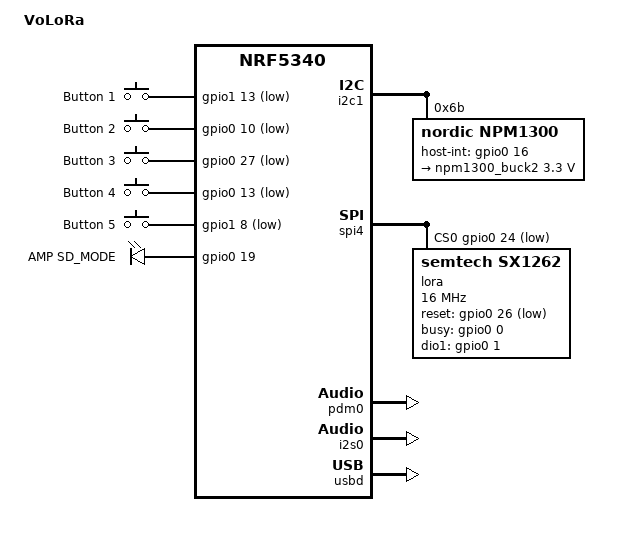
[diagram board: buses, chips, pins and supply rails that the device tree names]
/dts-v1/;
#include <nordic/nrf5340_cpuapp_qkaa.dtsi>
#include "volora_nrf5340_cpuapp-pinctrl.dtsi"
#include <zephyr/dt-bindings/lora/sx126x.h>

/ {
	model = "VoLoRa";
	compatible = "custom,volora";

	chosen {
		zephyr,sram = &sram0_image;
		zephyr,flash = &flash0;
		zephyr,code-partition = &slot0_partition;
		zephyr,console = &cdc_acm_uart0;
	};

	buttons {
		compatible = "gpio-keys";

		button0: button_0 {
			gpios = <&gpio1 13 (GPIO_PULL_UP | GPIO_ACTIVE_LOW)>;
			label = "Button 1";
		};
		button1: button_1 {
			gpios = <&gpio0 10 (GPIO_PULL_UP | GPIO_ACTIVE_LOW)>;
			label = "Button 2";
		};
		button2: button_2 {
			gpios = <&gpio0 27 (GPIO_PULL_UP | GPIO_ACTIVE_LOW)>;
			label = "Button 3";
		};
		button3: button_3 {
			gpios = <&gpio0 13 (GPIO_PULL_UP | GPIO_ACTIVE_LOW)>;
			label = "Button 4";
		};
		button4: button_4 {
			gpios = <&gpio1 8 (GPIO_PULL_UP | GPIO_ACTIVE_LOW)>;
			label = "Button 5";
		};
	};

	/* MAX98357A SD_MODE enable pin */
	amp_sd_mode: amp-sd-mode {
		compatible = "gpio-leds";
		amp_en: amp_en {
			gpios = <&gpio0 19 GPIO_ACTIVE_HIGH>;
			label = "AMP SD_MODE";
		};
	};
};

/* No LFXO on this board */
&lfxo {
	status = "disabled";
};

/* HFXO: 8 pF with internal load capacitors */
&hfxo {
	load-capacitors = "internal";
	load-capacitance-femtofarad = <8000>;
};

/* No QSPI flash on this board */
&qspi {
	status = "disabled";
};

&gpio0 {
	status = "okay";
};

&gpio1 {
	status = "okay";
};

&gpiote {
	status = "okay";
};

/* I2C1: nPM1300 PMIC */
&i2c1 {
	compatible = "nordic,nrf-twim";
	status = "okay";
	pinctrl-0 = <&i2c1_default>;
	pinctrl-1 = <&i2c1_sleep>;
	pinctrl-names = "default", "sleep";

	npm1300: pmic@6b {
		compatible = "nordic,npm1300";
		reg = <0x6b>;
		host-int-gpios = <&gpio0 16 0>;
		pmic-int-pin = <1>;

		npm1300_regulators: regulators {
			compatible = "nordic,npm1300-regulator";

			npm1300_buck1: BUCK1 {
			};

			npm1300_buck2: BUCK2 {
				regulator-min-microvolt = <3300000>;
				regulator-max-microvolt = <3300000>;
				regulator-init-microvolt = <3300000>;
				regulator-boot-on;
			};
		};

		npm1300_charger: charger {
			compatible = "nordic,npm1300-charger";
			term-microvolt = <4200000>;
			term-warm-microvolt = <4000000>;
			current-microamp = <800000>;
			dischg-limit-microamp = <1000000>;
			vbus-limit-microamp = <1200000>;
			thermistor-ohms = <10000>;
			thermistor-beta = <3435>;
			charging-enable;
		};

		npm1300_leds: leds {
			compatible = "nordic,npm1300-led";
			nordic,led0-mode = "charging";
			nordic,led1-mode = "host";
			nordic,led2-mode = "error";
		};
	};
};

/* SPI4: Wio-SX1262 LoRa module */
&spi4 {
	compatible = "nordic,nrf-spim";
	status = "okay";
	pinctrl-0 = <&spi4_default>;
	pinctrl-1 = <&spi4_sleep>;
	pinctrl-names = "default", "sleep";
	cs-gpios = <&gpio0 24 GPIO_ACTIVE_LOW>;

	lora: sx1262@0 {
		compatible = "semtech,sx1262";
		reg = <0>;
		spi-max-frequency = <16000000>;
		reset-gpios = <&gpio0 26 GPIO_ACTIVE_LOW>;
		busy-gpios = <&gpio0 0 GPIO_ACTIVE_HIGH>;
		dio1-gpios = <&gpio0 1 GPIO_ACTIVE_HIGH>;
		dio2-tx-enable;
		dio3-tcxo-voltage = <SX126X_DIO3_TCXO_1V8>;
		tcxo-power-startup-delay-ms = <5>;
	};
};

/* PDM microphone (MSM261DGT003) */
dmic_dev: &pdm0 {
	status = "okay";
	pinctrl-0 = <&pdm0_default>;
	pinctrl-1 = <&pdm0_sleep>;
	pinctrl-names = "default", "sleep";
	clock-source = "PCLK32M_HFXO";
};

/* I2S output to MAX98357A speaker amp */
&i2s0 {
	status = "okay";
	pinctrl-0 = <&i2s0_default>;
	pinctrl-1 = <&i2s0_sleep>;
	pinctrl-names = "default", "sleep";
};

/* USB */
zephyr_udc0: &usbd {
	compatible = "nordic,nrf-usbd";
	status = "okay";

	cdc_acm_uart0: cdc_acm_uart0 {
		compatible = "zephyr,cdc-acm-uart";
	};
};

/* Flash partitions */
#include <nordic/nrf5340_cpuapp_partition.dtsi>
